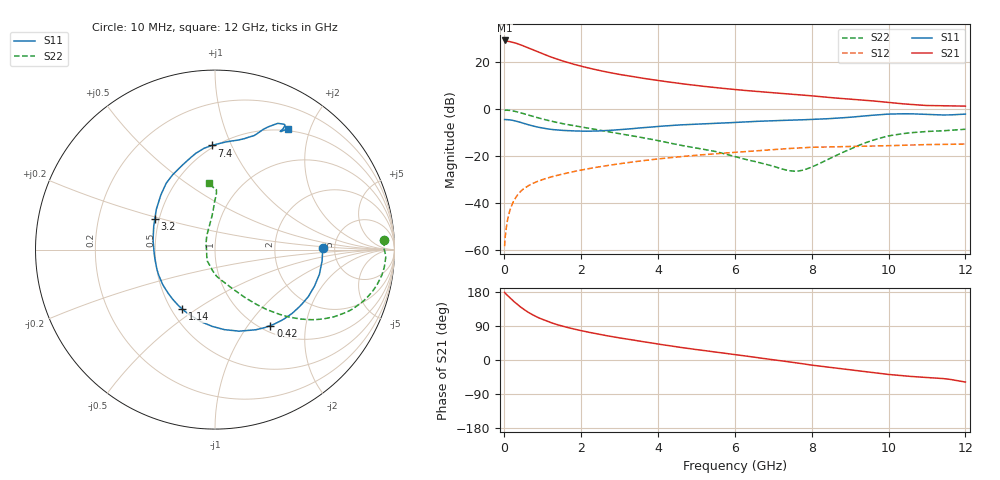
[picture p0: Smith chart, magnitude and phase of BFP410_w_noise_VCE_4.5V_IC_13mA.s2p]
! Infineon Technologies  Discrete & RF Semiconductors
! BFP410
! VCE =  4.5 V,  IC =  13 mA
! Common Emitter S-Parameters:  Nov 2015
# GHz  S  MA  R  50
!  f  S11  S21  S12  S22
! GHz  MAG  ANG  MAG  ANG  MAG  ANG  MAG  ANG
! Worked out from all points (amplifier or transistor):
!   243 points, 10 MHz to 12 GHz, reference 50 ohm
!   highest |S21| = 29.3 dB at 10 MHz (marker M1)
!   |S21| within 3 dB of that: start of sweep to 597.7 MHz
!   unconditionally stable (mu >= 1): start of sweep to 30.14 MHz; 2.217 GHz to end of sweep
!   at 240 MHz: K = 0.32, MSG = 33.9 dB, |S12| = -39.3 dB
!   at 1.84 GHz: K = 0.91, MSG = 22.8 dB, |S12| = -26.5 dB
!   at 12 GHz: K = 1.03, MAG = 7.0 dB, |S12| = -14.8 dB
!   lowest NFmin = 1.42 dB at 900 MHz
!   S11 on the Smith chart (normalised r, x): 10 MHz: 4.00, +0.14; 420 MHz: 1.10, -1.29; 1.14 GHz: 0.57, -0.44; 3.2 GHz: 0.47, +0.19; 7.4 GHz: 0.48, +0.85; 12 GHz: 0.48, +1.67
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0.01  0.6004 1.1  29.14 178.4  0.0012 31.9  0.944 3.1
0.02  0.5991 -1.5  28.71 176.7  0.0017 37.4  0.9429 0.1
0.055  0.5993 -6.5  28.2 173.2  0.003 62.0  0.9523 -2.6
0.1  0.5979 -13.3  27.97 169.1  0.0049 67.8  0.949 -5.8
0.22  0.5765 -29.3  26.63 157.5  0.0099 70.5  0.9194 -12.9
0.3  0.5577 -39.6  25.57 150.2  0.0131 68.9  0.8905 -17.2
0.42  0.5235 -53.9  23.61 140.3  0.0174 65.8  0.8398 -22.8
0.5  0.501 -63.1  22.27 134.2  0.0199 63.9  0.8041 -26.0
0.6  0.4739 -73.5  20.59 127.3  0.0226 61.8  0.7607 -29.5
0.8  0.428 -92.1  17.58 116.0  0.0274 58.6  0.6819 -34.9
1  0.3942 -108.7  15.09 106.8  0.0316 56.6  0.6145 -39.0
1.14  0.378 -118.7  13.65 101.4  0.0343 55.6  0.5757 -41.2
1.52  0.3526 -141.7  10.66 89.3  0.0414 53.7  0.4919 -46.0
2.02  0.3397 -165.5  8.166 77.1  0.0507 51.5  0.4158 -50.7
2.6  0.3489 171.3  6.356 65.3  0.0612 48.2  0.342 -55.7
3.2  0.3756 153.3  5.166 55.3  0.0722 44.4  0.2819 -60.9
4.1  0.4341 132.9  3.979 40.6  0.0886 38.2  0.2058 -70.9
6.1  0.5256 105.8  2.578 12.9  0.1216 22.6  0.0928 -108.3
7.4  0.5803 91.7  2.111 -4.7  0.1447 11.4  0.0489 -160.9
8.2  0.6132 80.9  1.855 -16.0  0.1552 2.7  0.0691 134.5
10.2  0.7912 62.4  1.341 -39.9  0.1681 -13.3  0.2859 89.5
12  0.7844 59.0  1.161 -58.2  0.181 -29.0  0.373 95.4
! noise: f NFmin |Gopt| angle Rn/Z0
0.45  1.45  0.03  -118  0.16
0.9  1.42  0.02  -123  0.16
1.8  1.53  0.08  -148  0.16
2.4  1.53  0.14  -128  0.21
5.5  2.4  0.38  -109  0.32
10  3.52  0.68  -48  2.04
